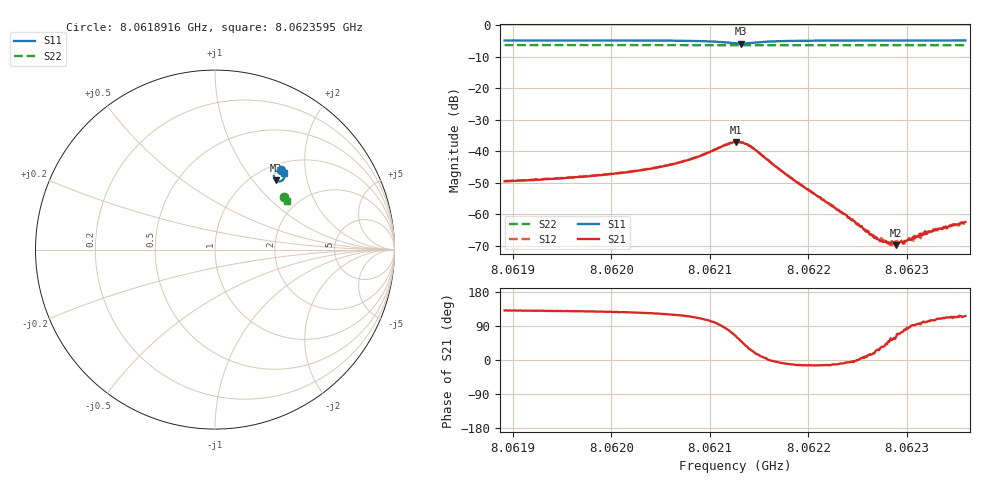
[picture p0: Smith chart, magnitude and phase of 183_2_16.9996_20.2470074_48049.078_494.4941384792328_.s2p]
#  HZ  S  RI  R  50.00
! Rohde & Schwarz Vector Network Analyzer
! Rohde-Schwarz,ZNB20-2Port,1311601062101988,3.16
! Created: UTC 3/20/2024, 11:00:14 PM
! freq[Hz]  re:S11  im:S11  re:S21  im:S21  re:S12  im:S12  re:S22  im:S22
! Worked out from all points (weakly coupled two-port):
!   401 points, 8.0618916 GHz to 8.0623595 GHz, reference 50 ohm
!   highest |S21| = -37.05 dB at 8.0621267 GHz (marker M1); lowest = -69.8 dB at 8.0622893 GHz (marker M2)
!   lowest |S11| = -5.8 dB at 8.0621314 GHz (marker M3), VSWR 3.12, Z = 62.6 + j65.9 ohm
!   |S11| at or under -10 dB: nowhere
!   |S22| runs from -6.3 to -6.3 dB; largest |S21 - S12| = 0.001
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8.06189156e9  0.3694 0.4416  -0.00217 0.00252  -0.00205 0.00265  0.3872 0.2939
8.06196994e9  0.3756 0.4358  -0.00245 0.00309  -0.00226 0.00323  0.3899 0.2901
8.06200386e9  0.3785 0.4325  -0.00263 0.00356  -0.00246 0.00373  0.3911 0.2882
8.06204831e9  0.3834 0.4253  -0.003 0.00475  -0.00273 0.00495  0.3927 0.2859
8.06208107e9  0.3871 0.4142  -0.00306 0.00686  -0.00267 0.00711  0.3937 0.2839
8.06212552e9  0.3524 0.3806  0.00596 0.0126  0.00688 0.0124  0.3931 0.2808
8.06212669e9  0.3495 0.3813  0.00657 0.0124  0.00745 0.012  0.3928 0.2809
8.06213137e9  0.3387 0.387  0.00882 0.0106  0.00956 0.0102  0.3927 0.281
8.06214423e9  0.3285 0.4154  0.0103 0.00415  0.0105 0.00336  0.3931 0.2817
8.06217465e9  0.3529 0.4392  0.00455 -0.000695  0.00456 -0.000988  0.3955 0.2811
8.06220389e9  0.3654 0.4386  0.00213 -0.000541  0.00212 -0.000698  0.3969 0.2795
8.06223665e9  0.3727 0.4361  0.000991 -0.000147  0.000965 -0.000181  0.3983 0.2778
8.06226823e9  0.3773 0.4336  0.000389 0.000173  0.000401 0.000134  0.3994 0.2762
8.06227525e9  0.378 0.4331  0.0003 0.000211  0.000303 0.000208  0.3996 0.2758
8.06228227e9  0.3789 0.4326  0.000228 0.000255  0.000222 0.000245  0.3997 0.2755
8.06228578e9  0.3793 0.4323  0.00021 0.000293  0.000202 0.00026  0.4 0.2752
8.06228929e9  0.3796 0.4322  0.000148 0.000288  0.000185 0.000323  0.4002 0.2751
8.06229163e9  0.3799 0.4319  0.000132 0.000326  0.000167 0.0003  0.4002 0.275
8.06229864e9  0.3805 0.4315  7.26e-05 0.000367  7.56e-05 0.000364  0.4004 0.2746
8.06230332e9  0.3811 0.4312  1.88e-05 0.000395  1.17e-05 0.00041  0.4006 0.2742
8.06232672e9  0.3832 0.4296  -0.000143 0.000531  -0.000144 0.000552  0.4013 0.2732
8.06235947e9  0.3858 0.4276  -0.000331 0.000675  -0.000323 0.000691  0.4024 0.2715
